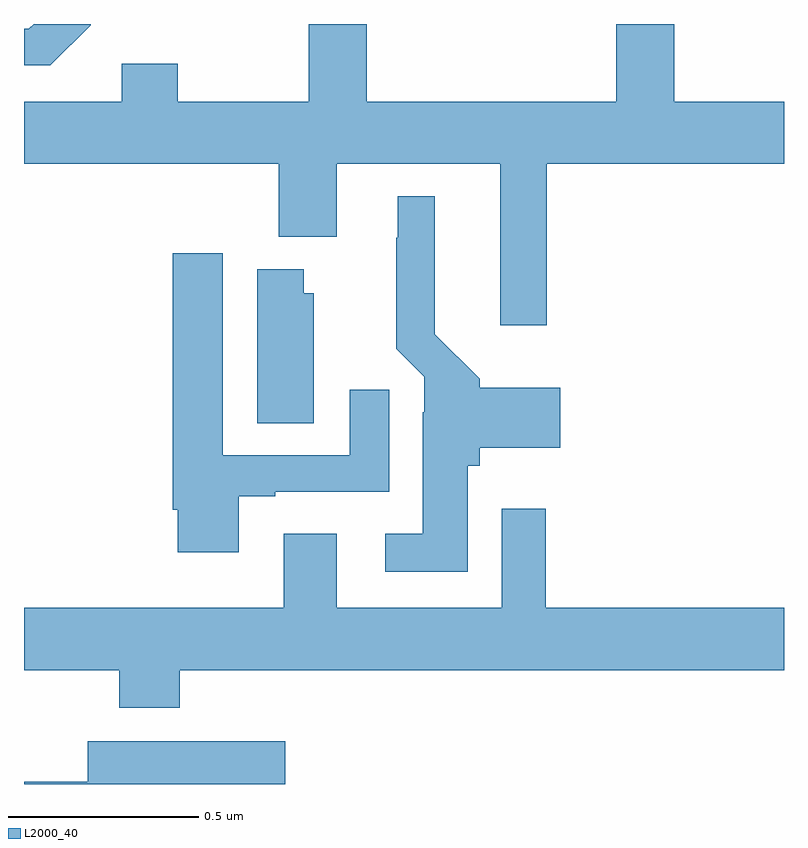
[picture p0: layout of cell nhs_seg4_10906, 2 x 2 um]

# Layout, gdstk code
import gdstk
lib = gdstk.Library(unit=1e-6, precision=1e-09)
def P(c, l, *ps):  # polygons
    for p in ps: c.add(gdstk.Polygon(p, *l))
L2000_40 = (2000, 40)

nhs_seg4_10906 = lib.new_cell('nhs_seg4_10906')
P(nhs_seg4_10906, L2000_40, [(247.376,751.532),(248,751.532),(248,751.696),(247.711,751.696),(247.711,751.9),(247.559,751.9),(247.559,751.696),(246.902,751.696),(246.902,751.9),(246.749,751.9),(246.749,751.696),(246.405,751.696),(246.405,751.795),(246.257,751.795),(246.257,751.696),(246,751.696),(246,751.532),(246.671,751.532),(246.671,751.34),(246.823,751.34),(246.823,751.532),(247.253,751.532),(247.253,751.107),(247.376,751.107)],
  [(246.175,751.897),(246.175,751.9),(246.025,751.9),(246.012,751.887),(246,751.887),(246,751.791),(246.069,751.791)],
  [(247.168,750.738),(247.199,750.738),(247.199,750.785),(247.411,750.785),(247.411,750.943),(247.199,750.943),(247.199,750.966),(247.081,751.084),(247.081,751.447),(246.983,751.447),(246.983,751.337),(246.979,751.337),(246.979,751.046),(247.053,750.972),(247.053,750.878),(247.049,750.878),(247.049,750.559),(246.951,750.559),(246.951,750.458),(247.168,750.458)],
  [(246.565,750.657),(246.661,750.657),(246.661,750.669),(246.961,750.669),(246.961,750.937),(246.857,750.937),(246.857,750.765),(246.523,750.765),(246.523,751.297),(246.392,751.297),(246.392,750.622),(246.404,750.622),(246.404,750.51),(246.565,750.51)],
  [(246.763,751.191),(246.736,751.191),(246.736,751.255),(246.614,751.255),(246.614,750.85),(246.763,750.85)],
  [(246.41,750.2),(248,750.2),(248,750.364),(247.373,750.364),(247.373,750.625),(247.257,750.625),(247.257,750.364),(246.823,750.364),(246.823,750.559),(246.683,750.559),(246.683,750.364),(246,750.364),(246,750.2),(246.25,750.2),(246.25,750.101),(246.41,750.101)],
  [(246.688,750.013),(246.168,750.013),(246.168,749.906),(246,749.906),(246,749.9),(246.688,749.9)])

lib.write_gds('nhs_seg4_10906.gds')
